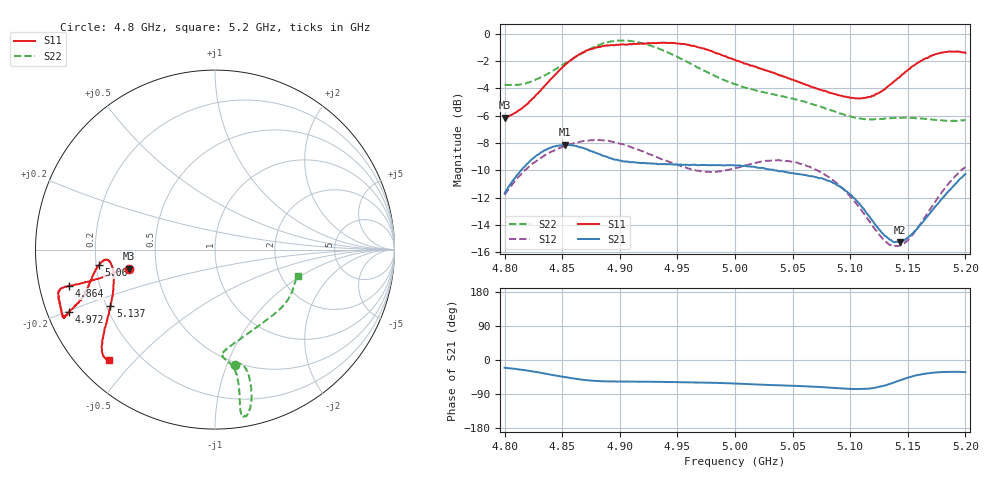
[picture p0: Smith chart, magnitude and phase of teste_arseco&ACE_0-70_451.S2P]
! Network Analyzer HP8722D
! Hewlett-Packard
! Data name: Linha & Wilkinson
! Saver's name: Rodrigo Anjos
! Comments: Teste da utilização de aquisição
! continua pelo VNA HP8722D
! Time and date: 8/5/2025 16:31
!  Frequency  S11  S21  S12  S22
# HZ  S  MA R 50
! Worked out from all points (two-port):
!   401 points, 4.8 GHz to 5.2 GHz, reference 50 ohm
!   highest |S21| = -8.13 dB at 4.852 GHz (marker M1); lowest = -15.3 dB at 5.143 GHz (marker M2)
!   |S21| within 3 dB of the highest: 4.804 GHz to 5.09 GHz (286.1 MHz wide, 5.78 % of centre); 5.189988 GHz to end of sweep
!   lowest |S11| = -6.1 dB at 4.8 GHz (marker M3), VSWR 2.94, Z = 17.2 - j4.85 ohm
!   |S11| at or under -10 dB: nowhere
!   |S22| runs from -6.4 to -0.5 dB; largest |S21 - S12| = 0.62
!   S11 on the Smith chart (normalised r, x): 4.8 GHz: 0.34, -0.10; 4.864 GHz: 0.09, -0.12; 4.972 GHz: 0.06, -0.20; 5.06 GHz: 0.21, -0.06; 5.137 GHz: 0.22, -0.24; 5.2 GHz: 0.09, -0.42
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4.8e9  0.4929 -167.5  0.2611 -20.6  0.2574 -141.7  0.6521 -80.2
4.826e9  0.5884 -166.8  0.3537 -31.1  0.3387 -145.8  0.6762 -75.8
4.852e9  0.7653 -165.8  0.3923 -45.2  0.388 -150.5  0.7767 -75.1
4.864e9  0.8373 -166.0  0.386 -50.6  0.4005 -152.4  0.8336 -75.8
4.867e9  0.8499 -166.0  0.3833 -51.9  0.4034 -152.9  0.8485 -76.1
4.88e9  0.8905 -165.7  0.3655 -55.4  0.4085 -154.8  0.9035 -77.4
4.898e9  0.9102 -163.1  0.3457 -56.7  0.3983 -156.9  0.9437 -79.5
4.915e9  0.9181 -159.7  0.3374 -57.2  0.3779 -157.6  0.9319 -80.9
4.934e9  0.9242 -156.6  0.3331 -57.9  0.3512 -155.9  0.8808 -80.9
4.972e9  0.883 -156.8  0.3312 -59.3  0.3137 -146.5  0.7354 -80.2
5e9  0.8018 -159.4  0.3295 -62.2  0.3223 -137.6  0.6536 -81.7
5.035e9  0.7156 -165.8  0.3163 -66.4  0.3444 -135.1  0.5972 -85.9
5.06e9  0.6546 -172.3  0.304 -69.0  0.331 -137.0  0.5644 -84.4
5.067e9  0.6379 -173.5  0.301 -70.0  0.3225 -137.7  0.5531 -82.6
5.083e9  0.6067 -174.7  0.2876 -73.2  0.2955 -139.1  0.5255 -76.5
5.1e9  0.5827 -171.7  0.258 -76.2  0.2541 -139.4  0.4991 -66.5
5.116e9  0.5867 -164.5  0.216 -75.7  0.2077 -135.2  0.486 -55.1
5.134e9  0.6471 -153.3  0.1767 -63.4  0.1692 -119.0  0.49 -42.9
5.137e9  0.6624 -151.6  0.1735 -60.5  0.1674 -115.0  0.4915 -41.1
5.143e9  0.694 -148.5  0.1727 -53.9  0.168 -107.2  0.4921 -37.8
5.173e9  0.8375 -138.8  0.2306 -33.2  0.2399 -80.8  0.4846 -24.1
5.2e9  0.8512 -133.7  0.3069 -32.0  0.3253 -77.5  0.4829 -17.7
